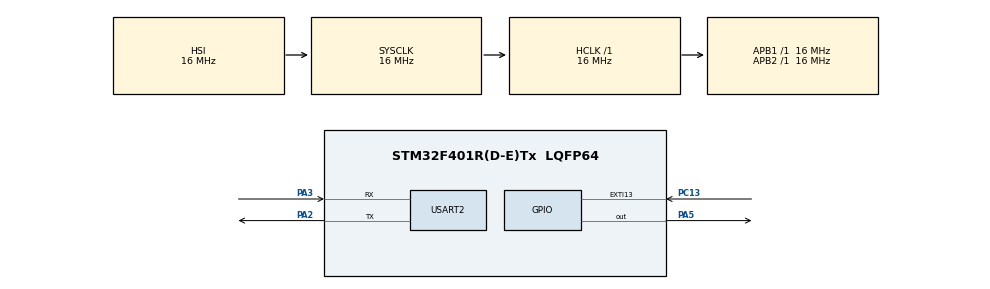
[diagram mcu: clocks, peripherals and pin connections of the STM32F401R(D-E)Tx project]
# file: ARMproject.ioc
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Dma.Request0=USART2_RX
Dma.Request1=USART2_TX
Dma.USART2_RX.0.Direction=DMA_PERIPH_TO_MEMORY
Dma.USART2_RX.0.FIFOMode=DMA_FIFOMODE_DISABLE
Dma.USART2_RX.0.Instance=DMA1_Stream5
Dma.USART2_RX.0.MemDataAlignment=DMA_MDATAALIGN_BYTE
Dma.USART2_RX.0.MemInc=DMA_MINC_ENABLE
Dma.USART2_RX.0.Mode=DMA_NORMAL
Dma.USART2_RX.0.PeriphDataAlignment=DMA_PDATAALIGN_BYTE
Dma.USART2_RX.0.PeriphInc=DMA_PINC_DISABLE
Dma.USART2_RX.0.Priority=DMA_PRIORITY_LOW
Dma.USART2_TX.1.Direction=DMA_MEMORY_TO_PERIPH
Dma.USART2_TX.1.FIFOMode=DMA_FIFOMODE_DISABLE
Dma.USART2_TX.1.Instance=DMA1_Stream6
Dma.USART2_TX.1.MemDataAlignment=DMA_MDATAALIGN_BYTE
Dma.USART2_TX.1.MemInc=DMA_MINC_ENABLE
Dma.USART2_TX.1.Mode=DMA_NORMAL
Dma.USART2_TX.1.PeriphDataAlignment=DMA_PDATAALIGN_BYTE
Dma.USART2_TX.1.PeriphInc=DMA_PINC_DISABLE
Dma.USART2_TX.1.Priority=DMA_PRIORITY_LOW
Mcu.Family=STM32F4
Mcu.Name=STM32F401R(D-E)Tx
Mcu.Package=LQFP64
NVIC.DMA1_Stream5_IRQn=true\:1\:0\:true\:false\:true\:false\:true\:true
NVIC.DMA1_Stream6_IRQn=true\:0\:0\:false\:false\:true\:false\:true\:true
NVIC.EXTI15_10_IRQn=true\:0\:0\:false\:false\:true\:true\:true\:true
NVIC.PriorityGroup=NVIC_PRIORITYGROUP_4
NVIC.USART2_IRQn=true\:0\:0\:false\:false\:true\:true\:true\:true
PA2.Mode=Asynchronous
PA2.Signal=USART2_TX
PA3.Mode=Asynchronous
PA3.Signal=USART2_RX
PA5.Signal=GPIO_Output
PC13-ANTI_TAMP.GPIO_ModeDefaultEXTI=GPIO_MODE_IT_RISING_FALLING
PC13-ANTI_TAMP.Signal=GPXTI13
ProjectManager.HeapSize=0x200
ProjectManager.StackSize=0x400
ProjectManager.TargetToolchain=Makefile
RCC.AHBFreq_Value=16000000
RCC.APB1Freq_Value=16000000
RCC.APB2Freq_Value=16000000
RCC.CortexFreq_Value=16000000
RCC.HSE_VALUE=25000000
RCC.HSI_VALUE=16000000
RCC.LSE_VALUE=32768
RCC.SYSCLKFreq_VALUE=16000000
RCC.VCOOutputFreq_Value=192000000
TIM10.Period=65536 - 1
TIM10.Prescaler=16 - 1
USART2.VirtualMode=VM_ASYNC
VP_TIM10_VS_ClockSourceINT.Mode=Enable_Timer
board=custom

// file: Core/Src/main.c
/* USER CODE BEGIN Header */
/**
  ******************************************************************************
  * @file           : main.c
  * @brief          : Main program body
  ******************************************************************************
  * @attention
  *
  * Copyright (c) 2022 STMicroelectronics.
  * All rights reserved.
  *
  * This software is licensed under terms that can be found in the LICENSE file
  * in the root directory of this software component.
  * If no LICENSE file comes with this software, it is provided AS-IS.
  *
  ******************************************************************************
  */
/* USER CODE END Header */
#include "main.h"

/* USER CODE BEGIN PD */
typedef struct {
	char magic[8];
	char idx;
	char data[256];
} data_store_t;
/* USER CODE END PD */

 TIM_HandleTypeDef htim10;

UART_HandleTypeDef huart2;
DMA_HandleTypeDef hdma_usart2_rx;
DMA_HandleTypeDef hdma_usart2_tx;

/* USER CODE BEGIN PV */

  char uart_buf[50];
  int uart_buf_len;
  uint16_t timer_val;
  uint16_t nb_push_second = 0; //nombre de seconde entre appuie et relachement
  size_t state = 0;

  uint8_t buffer;

  static const data_store_t datastore __attribute__((__section__(".datastore"))) = {    // mémoire de la carte | pas flash
	.idx = 10,
	.magic = "M4GIKNB",
	.data = "alexandre"
  };

  size_t mdp_max_size = 10;
  size_t mdp_size = 0;
  uint8_t mdp[10];

  size_t mdp_try_size = 0;
  uint8_t mdp_try[10];

/* USER CODE END PV */

void SystemClock_Config(void);
static void MX_GPIO_Init(void);
static void MX_TIM10_Init(void);
static void MX_DMA_Init(void);
static void MX_USART2_UART_Init(void);

/* USER CODE BEGIN 0 */

void Flash_Read_Data (uint32_t StartPageAddress, uint32_t *RxBuf, uint16_t numberofwords)
{
	while (1)
	{

		*RxBuf = *(__IO uint32_t *)StartPageAddress;
		StartPageAddress += 4;
		RxBuf++;
		if (!(numberofwords--)) break;
	}
}

uint32_t Flash_Write_Data (uint32_t StartPageAddress, uint32_t *Data, uint16_t numberofwords)
{

	static FLASH_EraseInitTypeDef EraseInitStruct;
	uint32_t PAGEError;
	int sofar=0;

	  /* Unlock the Flash to enable the flash control register access *************/
	   HAL_FLASH_Unlock();

	   /* Erase the user Flash area*/

	  uint32_t StartPage = GetPage(StartPageAddress);
	  uint32_t EndPageAdress = StartPageAddress + numberofwords*4;
	  uint32_t EndPage = GetPage(EndPageAdress);

	   /* Fill EraseInit structure*/
	   EraseInitStruct.TypeErase   = FLASH_TYPEERASE_PAGES;
	   EraseInitStruct.PageAddress = StartPage;
	   EraseInitStruct.NbPages     = ((EndPage - StartPage)/FLASH_PAGE_SIZE) +1;

	   if (HAL_FLASHEx_Erase(&EraseInitStruct, &PAGEError) != HAL_OK)
	   {
	     /*Error occurred while page erase.*/
		  return HAL_FLASH_GetError ();
	   }

	   /* Program the user Flash area word by word*/

	   while (sofar<numberofwords)
	   {
	     if (HAL_FLASH_Program(FLASH_TYPEPROGRAM_WORD, StartPageAddress, Data[sofar]) == HAL_OK)
	     {
	    	 StartPageAddress += 4;  // use StartPageAddress += 2 for half word and 8 for double word
	    	 sofar++;
	     }
	     else
	     {
	       /* Error occurred while writing data in Flash memory*/
	    	 return HAL_FLASH_GetError ();
	     }
	   }

	   /* Lock the Flash to disable the flash control register access (recommended
	      to protect the FLASH memory against possible unwanted operation) *********/
	   HAL_FLASH_Lock();

	   return 0;
}

void HAL_UART_RxCpltCallback(UART_HandleTypeDef *huart){

	if(state == 0){
		HAL_UART_Transmit(&huart2, "Received : ", 11, 10);
		if(buffer == '\r')
		{
			HAL_UART_Transmit(&huart2, "End of MDP ! There is \' ", 24, 100);
			HAL_UART_Transmit(&huart2, mdp, mdp_size, 100);
			HAL_UART_Transmit(&huart2, " \'\r\n", 3, 100);
			state = 1;
		}
		else
			if (mdp_size >= mdp_max_size){
				HAL_UART_Transmit(&huart2, "Your MDP is too long, rewrite it please with max 10 caracters\r\n", 63, 100);
				mdp_size = 0;
			}else{
				HAL_UART_Transmit(&huart2, &buffer, 1, 10);
				HAL_UART_Transmit(&huart2, "\r\n", 2, 100);
				mdp[mdp_size++] = buffer;
			}
	}
	else if(state == 1){

		if(mdp_try_size==0){
			nb_push_second = 0;
		}

		if(nb_push_second > 30)
		{
			//HAL_DMA_Abort(DMA1_Stream5_IRQn);
			HAL_UART_Transmit(&huart2, "End reception of the try !\r\n", 28, 100);
			return;
		}

		HAL_UART_Transmit(&huart2, "[TRY] Received : ", 17, 10);

		if(buffer == '\r')
		{
			HAL_UART_Transmit(&huart2, "End of TRY ! \r\n", 15, 100);
			if((mdp_try_size == mdp_size) && (strncmp(mdp,mdp_try,mdp_size) == 0)){
				state = 2;
				HAL_UART_Transmit(&huart2, "Deverouillage Done ! \r\n", 23, 100);
				HAL_UART_Transmit(&huart2,"1 --> 2\r\n", 11,100);
				mdp_try_size = 0;
			} else {
				HAL_UART_Transmit(&huart2, "Deverouillage Failed ! \r\n", 25, 100);
				mdp_try_size = 0;
			}

		}
		else{
			if (mdp_try_size >= mdp_max_size){
				HAL_UART_Transmit(&huart2, "Your MDP is too long, rewrite it please with max 10 caracters\r\n", 63, 100);
				mdp_try_size = 0;
			}else{
				HAL_UART_Transmit(&huart2, &buffer, 1, 10);
				HAL_UART_Transmit(&huart2, "\r\n", 2, 100);
				mdp_try[mdp_try_size++] = buffer;
				HAL_UART_Receive_DMA(&huart2, &buffer, 1);
			}
		}
	}

}

/*
	~~~   Note Utile ~~~

	Pour écrire un retour à la ligne il faut un \r\n
	Pour capter un retour à la ligne il faut capté \r
*/

/* USER CODE END 0 */

void Convert_To_Str (uint32_t *data, char *str)
{
	int numberofbytes = ((strlen(data)/4) + ((strlen(data) % 4) != 0)) *4;

	for (int i=0; i<numberofbytes; i++)
	{
		str[i] = data[i/4]>>(8*(i%4));
	}
}

int main(void)
{

  char string[100];
  char *data = "hello FLASH from ControllerTech This is a test to see how many words can we work with";

  uint32_t Rx_Data[30];

  /* MCU Configuration--------------------------------------------------------*/

  /* Reset of all peripherals, Initializes the Flash interface and the Systick. */
  HAL_Init();

  /* Configure the system clock */
  SystemClock_Config();

  /* Initialize all configured peripherals */
  MX_GPIO_Init();
  MX_TIM10_Init();
  MX_DMA_Init();
  MX_USART2_UART_Init();
  /* USER CODE BEGIN 2 */

  // Start timer
  HAL_TIM_Base_Start(&htim10);

  //TODO décommenter pour voir élément dans la mémoire
  //HAL_UART_Transmit(&huart2, &datastore, sizeof(datastore), 200);

  int numofwords = (strlen(data)/4)+((strlen(data)%4)!=0);
  Flash_Write_Data(0x08004810 , (uint32_t *)data, numofwords);
  Flash_Read_Data(0x08004810 , Rx_Data, numofwords);
  Convert_To_Str(Rx_Data, string);

  /* USER CODE END 2 */

  /* Infinite loop */
  while (1)
  {

    /* USER CODE BEGIN 3 */

    //HAL_UART_Transmit(&huart2, &buffer, 10, 10);

    switch( state )
		   {
		      case 0:   // state 0 : carte non configuré
		        // TODO initialisation de la carte ?

		        HAL_UART_Receive_DMA(&huart2, &buffer, 1);

		        // si carte pas initialisé clé de chiffrement &mot de passe vide sinon clé et mot de passe en flash
		        // clé et mot de passe en flash utile que mise hors tenssion de la carte.
		        //  commande d'initialisation mot de passe  "./mon-script init "mon-mot-de-passe"
		        //	tant que clé et mots de passe sont NULL alors on est à létat 0 sinon on passe état 1
                        HAL_GPIO_WritePin(GPIOA, GPIO_PIN_5, GPIO_PIN_SET);
    			 HAL_Delay(100);
    			 HAL_GPIO_WritePin(GPIOA, GPIO_PIN_5, GPIO_PIN_RESET);
    			 HAL_Delay(100);
    			 break;
                     case 1:   // state 1 : carte vérouillé
                     	 // pour dévérouillé on appuie et on a 30s pour écrire le mot de passe
                        HAL_GPIO_WritePin(GPIOA, GPIO_PIN_5, GPIO_PIN_SET);
                        HAL_Delay(1000);
                        nb_push_second++;
                        break;
                     case 2:   // state 3 : carte dévérouillé
                     	 //une fois la carte dévérouiller elle peux effectuer le chiffrement d'un fichier qui lui est envoyé

                        HAL_GPIO_WritePin(GPIOA, GPIO_PIN_5, GPIO_PIN_SET);
    			 HAL_Delay(1000);
    			 nb_push_second++;
    			 HAL_GPIO_WritePin(GPIOA, GPIO_PIN_5, GPIO_PIN_RESET);
    			 HAL_Delay(1000);
    			 nb_push_second++;
    			 break;
                     default:
                     	 HAL_GPIO_WritePin(GPIOA, GPIO_PIN_5, GPIO_PIN_RESET);
                     	 break;
                  }
  }
  /* USER CODE END 3 */
}

void SystemClock_Config(void)
{
  RCC_OscInitTypeDef RCC_OscInitStruct = {0};
  RCC_ClkInitTypeDef RCC_ClkInitStruct = {0};

  /** Configure the main internal regulator output voltage
  */
  __HAL_RCC_PWR_CLK_ENABLE();
  __HAL_PWR_VOLTAGESCALING_CONFIG(PWR_REGULATOR_VOLTAGE_SCALE2);

  /** Initializes the RCC Oscillators according to the specified parameters
  * in the RCC_OscInitTypeDef structure.
  */
  RCC_OscInitStruct.OscillatorType = RCC_OSCILLATORTYPE_HSI;
  RCC_OscInitStruct.HSIState = RCC_HSI_ON;
  RCC_OscInitStruct.HSICalibrationValue = RCC_HSICALIBRATION_DEFAULT;
  RCC_OscInitStruct.PLL.PLLState = RCC_PLL_NONE;
  if (HAL_RCC_OscConfig(&RCC_OscInitStruct) != HAL_OK)
  {
    Error_Handler();
  }

  /** Initializes the CPU, AHB and APB buses clocks
  */
  RCC_ClkInitStruct.ClockType = RCC_CLOCKTYPE_HCLK|RCC_CLOCKTYPE_SYSCLK
                              |RCC_CLOCKTYPE_PCLK1|RCC_CLOCKTYPE_PCLK2;
  RCC_ClkInitStruct.SYSCLKSource = RCC_SYSCLKSOURCE_HSI;
  RCC_ClkInitStruct.AHBCLKDivider = RCC_SYSCLK_DIV1;
  RCC_ClkInitStruct.APB1CLKDivider = RCC_HCLK_DIV1;
  RCC_ClkInitStruct.APB2CLKDivider = RCC_HCLK_DIV1;

  if (HAL_RCC_ClockConfig(&RCC_ClkInitStruct, FLASH_LATENCY_0) != HAL_OK)
  {
    Error_Handler();
  }
}

static void MX_TIM10_Init(void)
{

  htim10.Instance = TIM10;
  htim10.Init.Prescaler = 16 - 1;
  htim10.Init.CounterMode = TIM_COUNTERMODE_UP;
  htim10.Init.Period = 65536 - 1;
  htim10.Init.ClockDivision = TIM_CLOCKDIVISION_DIV1;
  htim10.Init.AutoReloadPreload = TIM_AUTORELOAD_PRELOAD_DISABLE;
  if (HAL_TIM_Base_Init(&htim10) != HAL_OK)
  {
    Error_Handler();
  }

}

static void MX_USART2_UART_Init(void)
{

  huart2.Instance = USART2;
  huart2.Init.BaudRate = 115200;
  huart2.Init.WordLength = UART_WORDLENGTH_8B;
  huart2.Init.StopBits = UART_STOPBITS_1;
  huart2.Init.Parity = UART_PARITY_NONE;
  huart2.Init.Mode = UART_MODE_TX_RX;
  huart2.Init.HwFlowCtl = UART_HWCONTROL_NONE;
  huart2.Init.OverSampling = UART_OVERSAMPLING_16;
  if (HAL_UART_Init(&huart2) != HAL_OK)
  {
    Error_Handler();
  }

}

static void MX_DMA_Init(void)
{

  /* DMA controller clock enable */
  __HAL_RCC_DMA1_CLK_ENABLE();

  /* DMA interrupt init */
  /* DMA1_Stream5_IRQn interrupt configuration */
  HAL_NVIC_SetPriority(DMA1_Stream5_IRQn, 1, 0);
  HAL_NVIC_EnableIRQ(DMA1_Stream5_IRQn);
  /* DMA1_Stream6_IRQn interrupt configuration */
  HAL_NVIC_SetPriority(DMA1_Stream6_IRQn, 0, 0);
  HAL_NVIC_EnableIRQ(DMA1_Stream6_IRQn);

}

static void MX_GPIO_Init(void)
{
  GPIO_InitTypeDef GPIO_InitStruct = {0};

  /* GPIO Ports Clock Enable */
  __HAL_RCC_GPIOC_CLK_ENABLE();
  __HAL_RCC_GPIOA_CLK_ENABLE();

  /*Configure GPIO pin Output Level */
  HAL_GPIO_WritePin(GPIOA, GPIO_PIN_5, GPIO_PIN_RESET);

  /*Configure GPIO pin : PC13 */
  GPIO_InitStruct.Pin = GPIO_PIN_13;
  GPIO_InitStruct.Mode = GPIO_MODE_IT_RISING_FALLING;
  GPIO_InitStruct.Pull = GPIO_NOPULL;
  HAL_GPIO_Init(GPIOC, &GPIO_InitStruct);

  /*Configure GPIO pin : PA5 */
  GPIO_InitStruct.Pin = GPIO_PIN_5;
  GPIO_InitStruct.Mode = GPIO_MODE_OUTPUT_PP;
  GPIO_InitStruct.Pull = GPIO_NOPULL;
  GPIO_InitStruct.Speed = GPIO_SPEED_FREQ_LOW;
  HAL_GPIO_Init(GPIOA, &GPIO_InitStruct);

  /* EXTI interrupt init*/
  HAL_NVIC_SetPriority(EXTI15_10_IRQn, 0, 0);
  HAL_NVIC_EnableIRQ(EXTI15_10_IRQn);

}

/* USER CODE BEGIN 4 */

/* USER CODE BEGIN 4 */

void HAL_GPIO_EXTI_Callback(uint16_t GPIO_Pin)
{
	int tmp;
	if( GPIO_Pin == GPIO_PIN_13 ) {
		tmp = HAL_GPIO_ReadPin(GPIOC, GPIO_PIN_13);
		if (tmp == 0) // on appuie
		{
		   nb_push_second = 0;
		}
		else		// onrelache
		{
		   switch( state )
		   {
		      case 0:
                        break;
                     case 1:
                     	 if(nb_push_second < 1){   	// appuie cours de moins 1s
                     	    HAL_UART_Receive_DMA(&huart2, &buffer, 1); //TODO accepte dévérouillage pendant 30s (si dévérouillage state = 2, sinon state = 1
                     	    // Lecture du mot de pass //TODO 30s max et teste si ok
                     	 }
                     	 else
                     	 	HAL_UART_Transmit(&huart2,"1 --> 1\r\n", 11,100);
                        break;
                     case 2:
                        if(nb_push_second > 5){  	// appuie de plus de 5s reset la carte
                        	state = 0;
                        	mdp_size = 0;
                        	HAL_UART_Transmit(&huart2,"2 --> 0\r\n", 11,100);
                        }
                        else {			// appuie de plus de moins de 1s vérouillage de la carte
                        	state = 1;
                        	HAL_UART_Transmit(&huart2,"2 --> 1\r\n", 11,100);
                        }
                        break;
                     default:
			 break;
                  }
		}

	}

}

/* USER CODE END 4 */

void Error_Handler(void)
{
  __disable_irq();
  while (1)
  {
  }
}
